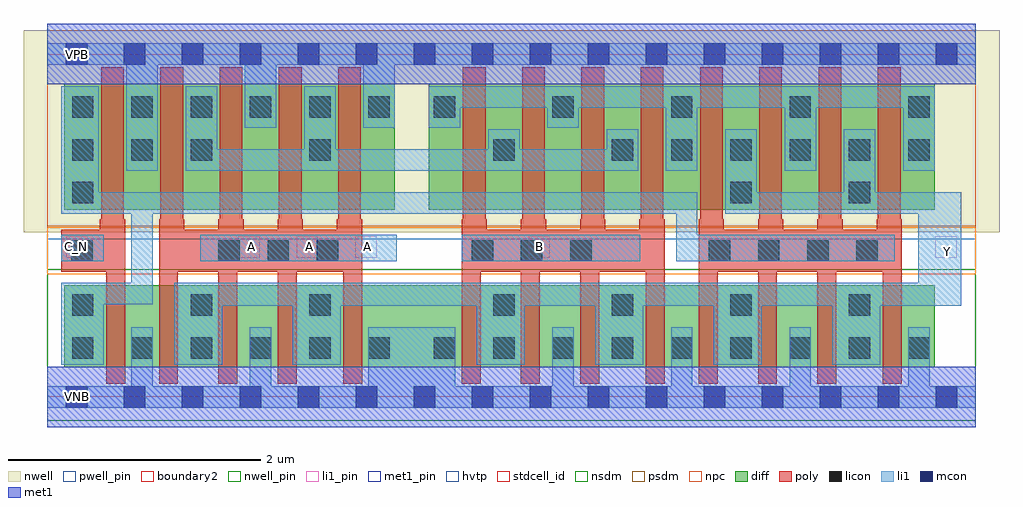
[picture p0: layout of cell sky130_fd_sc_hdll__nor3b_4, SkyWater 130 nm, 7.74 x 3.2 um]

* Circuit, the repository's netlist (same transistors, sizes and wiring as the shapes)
* Copyright 2020 The SkyWater PDK Authors
*
* Licensed under the Apache License, Version 2.0 (the "License");
* you may not use this file except in compliance with the License.
* You may obtain a copy of the License at
*
*     https://www.apache.org/licenses/LICENSE-2.0
*
* Unless required by applicable law or agreed to in writing, software
* distributed under the License is distributed on an "AS IS" BASIS,
* WITHOUT WARRANTIES OR CONDITIONS OF ANY KIND, either express or implied.
* See the License for the specific language governing permissions and
* limitations under the License.
*
* SPDX-License-Identifier: Apache-2.0

.SUBCKT sky130_fd_sc_hdll__nor3b_4 A B C_N VGND VNB VPB VPWR Y
*.PININFO A:I B:I C_N:I VGND:I VNB:I VPB:I VPWR:I Y:O
MMP0 VPWR A sndPA VPB sky130_fd_pr__pfet_01v8_hvt m=4 w=1.0U l=0.18U mult=1 sa=0.265
+ sb=0.265 sd=0.28 area=0.063 perim=1.14
MMP1 sndPA B sndPB VPB sky130_fd_pr__pfet_01v8_hvt m=4 w=1.0U l=0.18U mult=1 sa=0.265
+ sb=0.265 sd=0.28 area=0.063 perim=1.14
MMP2 sndPB C Y VPB sky130_fd_pr__pfet_01v8_hvt m=4 w=1.0U l=0.18U mult=1 sa=0.265
+ sb=0.265 sd=0.28 area=0.063 perim=1.14
MMIP2 C C_N VPWR VPB sky130_fd_pr__pfet_01v8_hvt m=1 w=1.0U l=0.18U mult=1 sa=0.265
+ sb=0.265 sd=0.28 area=0.063 perim=1.14
MMN0 Y A VGND VNB sky130_fd_pr__nfet_01v8 m=4 w=0.65U l=0.15U mult=1 sa=0.265 sb=0.265
+ sd=0.28 area=0.063 perim=1.14
MMN1 Y B VGND VNB sky130_fd_pr__nfet_01v8 m=4 w=0.65U l=0.15U mult=1 sa=0.265 sb=0.265
+ sd=0.28 area=0.063 perim=1.14
MMN2 Y C VGND VNB sky130_fd_pr__nfet_01v8 m=4 w=0.65U l=0.15U mult=1 sa=0.265 sb=0.265
+ sd=0.28 area=0.063 perim=1.14
MMIN2 C C_N VGND VNB sky130_fd_pr__nfet_01v8 m=1 w=0.65U l=0.15U mult=1 sa=0.265
+ sb=0.265 sd=0.28 area=0.063 perim=1.14
.ENDS sky130_fd_sc_hdll__nor3b_4

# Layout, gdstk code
import gdstk
lib = gdstk.Library(unit=1e-6, precision=1e-09)
def R(c, l, rs):  # rectangles x0, y0, x1, y1
    for r in rs: c.add(gdstk.rectangle(r[:2], r[2:], *l))
def A(c, l, x, y, w, h, nx, ny, dx, dy):  # array of equal rectangles
    R(c, l, [(x+i*dx, y+j*dy, x+i*dx+w, y+j*dy+h) for i in range(nx) for j in range(ny)])
def P(c, l, *ps):  # polygons
    for p in ps: c.add(gdstk.Polygon(p, *l))
nwell_pin = (64, 16)
nwell = (64, 20)
diff = (65, 20)
poly = (66, 20)
licon = (66, 44)
li1_pin = (67, 16)
li1 = (67, 20)
mcon = (67, 44)
met1_pin = (68, 16)
met1 = (68, 20)
hvtp = (78, 44)
stdcell_id = (81, 4)
nsdm = (93, 44)
psdm = (94, 20)
npc = (95, 20)
pwell_pin = (122, 16)
boundary2 = (236, 0)

sky130_fd_sc_hdll__nor3b = lib.new_cell('sky130_fd_sc_hdll__nor3b_4')
R(sky130_fd_sc_hdll__nor3b, nwell_pin, [(0.15,2.635,0.32,2.805)])
R(sky130_fd_sc_hdll__nor3b, nwell, [(-0.19,1.305,7.55,2.91)])
R(sky130_fd_sc_hdll__nor3b, diff, [(0.135,0.235,7.035,0.885), (0.135,1.485,2.755,2.485), (3.025,1.485,7.035,2.485)])
P(sky130_fd_sc_hdll__nor3b, poly, [(0.615,1.41),(0.605,1.41),(0.605,2.615),(0.425,2.615),(0.425,1.41),(0.415,1.41),(0.415,1.325),(0.11,1.325),(0.11,0.995),(0.465,0.995),(0.465,0.105),(0.615,0.105)],
  [(2.495,1.41),(2.485,1.41),(2.485,2.615),(2.305,2.615),(2.305,1.41),(2.295,1.41),(2.295,1.325),(2.025,1.325),(2.025,1.41),(2.015,1.41),(2.015,2.615),(1.835,2.615),(1.835,1.41),(1.825,1.41),(1.825,1.325),(1.555,1.325),(1.555,1.41),(1.545,1.41),(1.545,2.615),(1.365,2.615),(1.365,1.41),(1.355,1.41),(1.355,1.325),(1.085,1.325),(1.085,1.41),(1.075,1.41),(1.075,2.615),(0.895,2.615),(0.895,1.41),(0.885,1.41),(0.885,0.105),(1.035,0.105),(1.035,0.995),(1.355,0.995),(1.355,0.105),(1.505,0.105),(1.505,0.995),(1.825,0.995),(1.825,0.105),(1.975,0.105),(1.975,0.995),(2.345,0.995),(2.345,0.105),(2.495,0.105)],
  [(4.895,1.41),(4.885,1.41),(4.885,2.615),(4.705,2.615),(4.705,1.41),(4.695,1.41),(4.695,1.325),(4.425,1.325),(4.425,1.41),(4.415,1.41),(4.415,2.615),(4.235,2.615),(4.235,1.41),(4.225,1.41),(4.225,1.325),(3.955,1.325),(3.955,1.41),(3.945,1.41),(3.945,2.615),(3.765,2.615),(3.765,1.41),(3.755,1.41),(3.755,1.325),(3.485,1.325),(3.485,1.41),(3.475,1.41),(3.475,2.615),(3.295,2.615),(3.295,1.41),(3.285,1.41),(3.285,0.105),(3.435,0.105),(3.435,0.995),(3.755,0.995),(3.755,0.105),(3.905,0.105),(3.905,0.995),(4.225,0.995),(4.225,0.105),(4.375,0.105),(4.375,0.995),(4.745,0.995),(4.745,0.105),(4.895,0.105)],
  [(6.775,1.41),(6.765,1.41),(6.765,2.615),(6.585,2.615),(6.585,1.41),(6.575,1.41),(6.575,1.325),(6.305,1.325),(6.305,1.41),(6.295,1.41),(6.295,2.615),(6.115,2.615),(6.115,1.41),(6.105,1.41),(6.105,1.325),(5.835,1.325),(5.835,1.41),(5.825,1.41),(5.825,2.615),(5.645,2.615),(5.645,1.41),(5.635,1.41),(5.635,1.325),(5.365,1.325),(5.365,1.41),(5.355,1.41),(5.355,2.615),(5.175,2.615),(5.175,1.41),(5.165,1.41),(5.165,0.105),(5.315,0.105),(5.315,0.995),(5.635,0.995),(5.635,0.105),(5.785,0.105),(5.785,0.995),(6.105,0.995),(6.105,0.105),(6.255,0.105),(6.255,0.995),(6.625,0.995),(6.625,0.105),(6.775,0.105)])
A(sky130_fd_sc_hdll__nor3b, licon, 0.195, 0.305, 0.17, 0.17, 6, 2, 0.47, 1.91)
A(sky130_fd_sc_hdll__nor3b, licon, 3.065, 0.305, 0.17, 0.17, 9, 1, 0.47, 0)
A(sky130_fd_sc_hdll__nor3b, licon, 0.195, 0.645, 0.17, 0.17, 3, 1, 0.94, 0)
A(sky130_fd_sc_hdll__nor3b, licon, 3.535, 0.645, 0.17, 0.17, 4, 1, 0.94, 0)
A(sky130_fd_sc_hdll__nor3b, licon, 1.355, 1.075, 0.17, 0.17, 3, 1, 0.39, 0)
A(sky130_fd_sc_hdll__nor3b, licon, 3.365, 1.075, 0.17, 0.17, 3, 1, 0.39, 0)
A(sky130_fd_sc_hdll__nor3b, licon, 5.245, 1.075, 0.17, 0.17, 4, 1, 0.39, 0)
A(sky130_fd_sc_hdll__nor3b, licon, 0.195, 1.875, 0.17, 0.17, 3, 1, 0.47, 0)
A(sky130_fd_sc_hdll__nor3b, licon, 4.475, 1.875, 0.17, 0.17, 6, 1, 0.47, 0)
A(sky130_fd_sc_hdll__nor3b, licon, 3.065, 2.215, 0.17, 0.17, 5, 1, 0.94, 0)
R(sky130_fd_sc_hdll__nor3b, licon, [(0.19,1.075,0.36,1.245), (0.195,1.535,0.365,1.705), (5.415,1.535,5.585,1.705), (6.355,1.535,6.525,1.705), (2.075,1.875,2.245,2.045), (3.535,1.875,3.705,2.045)])
R(sky130_fd_sc_hdll__nor3b, li1_pin, [(0.15,1.105,0.32,1.275), (1.515,1.105,1.685,1.275), (1.975,1.105,2.145,1.275), (2.44,1.105,2.61,1.275), (3.815,1.105,3.985,1.275), (7.04,1.105,7.21,1.275)])
R(sky130_fd_sc_hdll__nor3b, li1, [(0.11,1.075,0.445,1.285), (1.21,1.075,2.77,1.285), (3.285,1.075,4.7,1.285)])
P(sky130_fd_sc_hdll__nor3b, li1, [(7.36,2.805),(0,2.805),(0,2.635),(0.625,2.635),(0.625,1.795),(0.875,1.795),(0.875,2.635),(1.565,2.635),(1.565,2.135),(1.815,2.135),(1.815,2.635),(2.505,2.635),(2.505,2.135),(2.755,2.135),(2.755,2.635),(7.36,2.635)],
  [(7.245,1.625),(6.565,1.625),(6.565,2.125),(6.315,2.125),(6.315,1.625),(5.625,1.625),(5.625,2.125),(5.375,2.125),(5.375,1.455),(6.905,1.455),(6.905,0.905),(1.005,0.905),(1.005,0.255),(1.385,0.255),(1.385,0.725),(1.945,0.725),(1.945,0.255),(2.325,0.255),(2.325,0.725),(3.405,0.725),(3.405,0.255),(3.785,0.255),(3.785,0.725),(4.345,0.725),(4.345,0.255),(4.725,0.255),(4.725,0.725),(5.285,0.725),(5.285,0.255),(5.665,0.255),(5.665,0.725),(6.225,0.725),(6.225,0.255),(6.605,0.255),(6.605,0.725),(7.245,0.725)],
  [(4.685,2.125),(4.435,2.125),(4.435,1.965),(3.745,1.965),(3.745,2.125),(3.495,2.125),(3.495,1.965),(2.285,1.965),(2.285,2.465),(2.035,2.465),(2.035,1.965),(1.345,1.965),(1.345,2.465),(1.095,2.465),(1.095,1.795),(4.685,1.795)],
  [(6.72,1.285),(5.155,1.285),(5.155,1.625),(0.405,1.625),(0.405,2.465),(0.11,2.465),(0.11,1.455),(0.665,1.455),(0.665,0.905),(0.11,0.905),(0.11,0.255),(0.445,0.255),(0.445,0.735),(0.835,0.735),(0.835,1.455),(4.985,1.455),(4.985,1.075),(6.72,1.075)],
  [(7.36,0.085),(6.995,0.085),(6.995,0.555),(6.825,0.555),(6.825,0.085),(6.055,0.085),(6.055,0.555),(5.885,0.555),(5.885,0.085),(5.115,0.085),(5.115,0.555),(4.945,0.555),(4.945,0.085),(4.175,0.085),(4.175,0.555),(4.005,0.555),(4.005,0.085),(3.235,0.085),(3.235,0.555),(2.545,0.555),(2.545,0.085),(1.775,0.085),(1.775,0.555),(1.605,0.555),(1.605,0.085),(0.835,0.085),(0.835,0.555),(0.665,0.555),(0.665,0.085),(0,0.085),(0,-0.085),(7.36,-0.085)],
  [(7.035,2.465),(3.025,2.465),(3.025,2.135),(3.275,2.135),(3.275,2.295),(3.965,2.295),(3.965,2.135),(4.215,2.135),(4.215,2.295),(4.905,2.295),(4.905,1.795),(5.155,1.795),(5.155,2.295),(5.845,2.295),(5.845,1.795),(6.095,1.795),(6.095,2.295),(6.785,2.295),(6.785,1.795),(7.035,1.795)])
A(sky130_fd_sc_hdll__nor3b, mcon, 0.145, -0.085, 0.17, 0.17, 16, 2, 0.46, 2.72)
R(sky130_fd_sc_hdll__nor3b, met1_pin, [(0.15,-0.085,0.32,0.085), (0.15,2.635,0.32,2.805)])
R(sky130_fd_sc_hdll__nor3b, met1, [(0,-0.24,7.36,0.24), (0,2.48,7.36,2.96)])
R(sky130_fd_sc_hdll__nor3b, hvtp, [(0,1.25,7.36,2.72)])
R(sky130_fd_sc_hdll__nor3b, stdcell_id, [(0,0,7.36,2.72)])
R(sky130_fd_sc_hdll__nor3b, nsdm, [(0,-0.19,7.36,1.015)])
R(sky130_fd_sc_hdll__nor3b, psdm, [(0,1.355,7.36,2.91)])
R(sky130_fd_sc_hdll__nor3b, npc, [(0,0.975,7.36,1.345)])
R(sky130_fd_sc_hdll__nor3b, pwell_pin, [(0.15,-0.085,0.32,0.085)])
R(sky130_fd_sc_hdll__nor3b, boundary2, [(0,0,7.36,2.72)])
sky130_fd_sc_hdll__nor3b.add(gdstk.Label('A', (2.075,1.19), layer=67, texttype=5))
sky130_fd_sc_hdll__nor3b.add(gdstk.Label('A', (2.535,1.19), layer=67, texttype=5))
sky130_fd_sc_hdll__nor3b.add(gdstk.Label('A', (1.615,1.19), layer=67, texttype=5))
sky130_fd_sc_hdll__nor3b.add(gdstk.Label('C_N', (0.23,1.19), layer=67, texttype=5))
sky130_fd_sc_hdll__nor3b.add(gdstk.Label('B', (3.905,1.19), layer=67, texttype=5))
sky130_fd_sc_hdll__nor3b.add(gdstk.Label('Y', (7.135,1.155), layer=67, texttype=5))
sky130_fd_sc_hdll__nor3b.add(gdstk.Label('VPB', (0.235,2.72), layer=64, texttype=5))
sky130_fd_sc_hdll__nor3b.add(gdstk.Label('VNB', (0.235,0), layer=64, texttype=59))
sky130_fd_sc_hdll__nor3b.add(gdstk.Label('VGND', (0.23,0), layer=68, texttype=5))
sky130_fd_sc_hdll__nor3b.add(gdstk.Label('VPWR', (0.235,2.72), layer=68, texttype=5))
sky130_fd_sc_hdll__nor3b.add(gdstk.Label('nor3b_4', (0,0), layer=83, texttype=44))

lib.write_gds('sky130_fd_sc_hdll__nor3b_4.gds')
